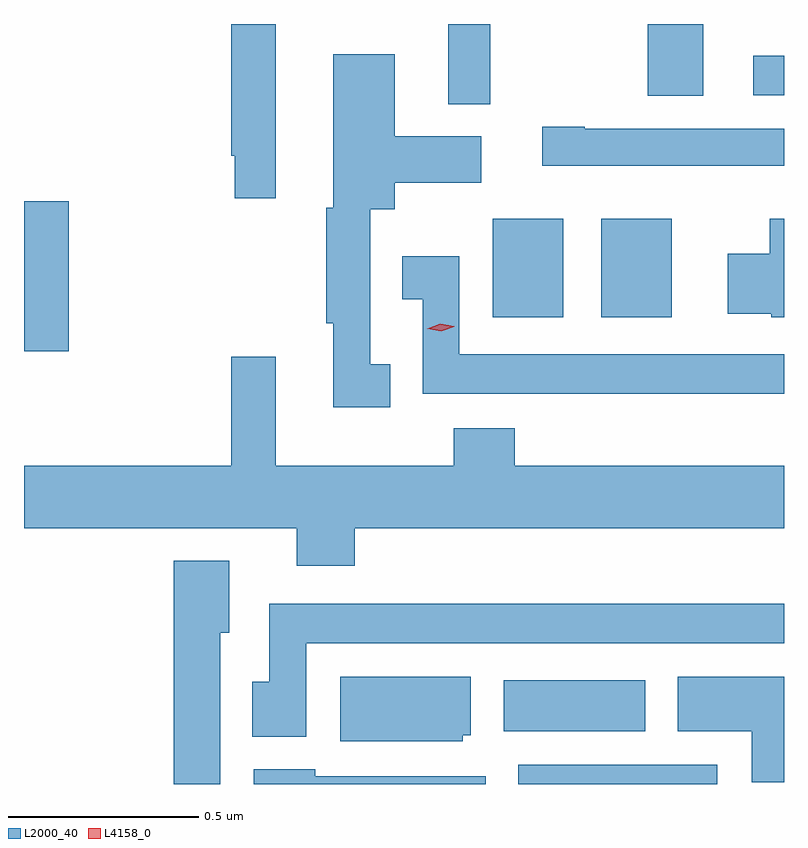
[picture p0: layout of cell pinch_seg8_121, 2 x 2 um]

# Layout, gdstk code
import gdstk
lib = gdstk.Library(unit=1e-6, precision=1e-09)
def R(c, l, rs):  # rectangles x0, y0, x1, y1
    for r in rs: c.add(gdstk.rectangle(r[:2], r[2:], *l))
def P(c, l, *ps):  # polygons
    for p in ps: c.add(gdstk.Polygon(p, *l))
L2000_40 = (2000, 40)
L4158_0 = (4158, 0)

pinch_seg8_121 = lib.new_cell('pinch_seg8_121')
R(pinch_seg8_121, L2000_40, [(1000.973,1087.855,1001.497,1087.906), (1000.935,1087.994,1001.308,1088.128), (999.673,1088.994,999.791,1089.388), (1000.907,1089.083,1001.092,1089.343), (1001.192,1089.083,1001.377,1089.343), (1000.79,1089.644,1000.9,1089.855), (1001.314,1089.666,1001.461,1089.855), (1001.592,1089.668,1001.673,1089.772)])
P(pinch_seg8_121, L2000_40, [(1000.336,1089.855),(1000.219,1089.855),(1000.219,1089.508),(1000.227,1089.508),(1000.227,1089.396),(1000.336,1089.396)],
  [(1000.637,1088.96),(1000.584,1088.96),(1000.584,1089.368),(1000.648,1089.368),(1000.648,1089.437),(1000.876,1089.437),(1000.876,1089.559),(1000.648,1089.559),(1000.648,1089.775),(1000.487,1089.775),(1000.487,1089.372),(1000.468,1089.372),(1000.468,1089.067),(1000.487,1089.067),(1000.487,1088.847),(1000.637,1088.847)],
  [(1001.673,1089.579),(1001.149,1089.579),(1001.149,1089.584),(1001.037,1089.584),(1001.037,1089.482),(1001.673,1089.482)],
  [(1001.673,1089.343),(1001.636,1089.343),(1001.636,1089.25),(1001.525,1089.25),(1001.525,1089.092),(1001.64,1089.092),(1001.64,1089.083),(1001.673,1089.083)],
  [(1001.673,1088.986),(1000.818,1088.986),(1000.818,1089.244),(1000.669,1089.244),(1000.669,1089.131),(1000.722,1089.131),(1000.722,1088.882),(1001.673,1088.882)],
  [(1000.544,1088.528),(1001.673,1088.528),(1001.673,1088.692),(1000.964,1088.692),(1000.964,1088.791),(1000.804,1088.791),(1000.804,1088.692),(1000.336,1088.692),(1000.336,1088.98),(1000.219,1088.98),(1000.219,1088.692),(999.673,1088.692),(999.673,1088.528),(1000.391,1088.528),(1000.391,1088.429),(1000.544,1088.429)],
  [(1000.189,1088.253),(1000.213,1088.253),(1000.213,1088.443),(1000.067,1088.443),(1000.067,1087.855),(1000.189,1087.855)],
  [(1000.416,1088.225),(1001.673,1088.225),(1001.673,1088.329),(1000.319,1088.329),(1000.319,1088.124),(1000.274,1088.124),(1000.274,1087.98),(1000.416,1087.98)],
  [(1000.827,1087.983),(1000.849,1087.983),(1000.849,1088.137),(1000.505,1088.137),(1000.505,1087.967),(1000.827,1087.967)],
  [(1001.673,1088.137),(1001.393,1088.137),(1001.393,1087.994),(1001.588,1087.994),(1001.588,1087.86),(1001.673,1087.86)],
  [(1000.888,1087.876),(1000.44,1087.876),(1000.44,1087.894),(1000.278,1087.894),(1000.278,1087.855),(1000.888,1087.855)])
P(pinch_seg8_121, L4158_0, [(1000.771,1089.046),(1000.734,1089.053),(1000.734,1089.053),(1000.734,1089.053),(1000.769,1089.066),(1000.805,1089.059),(1000.805,1089.058),(1000.805,1089.058)])

lib.write_gds('pinch_seg8_121.gds')
